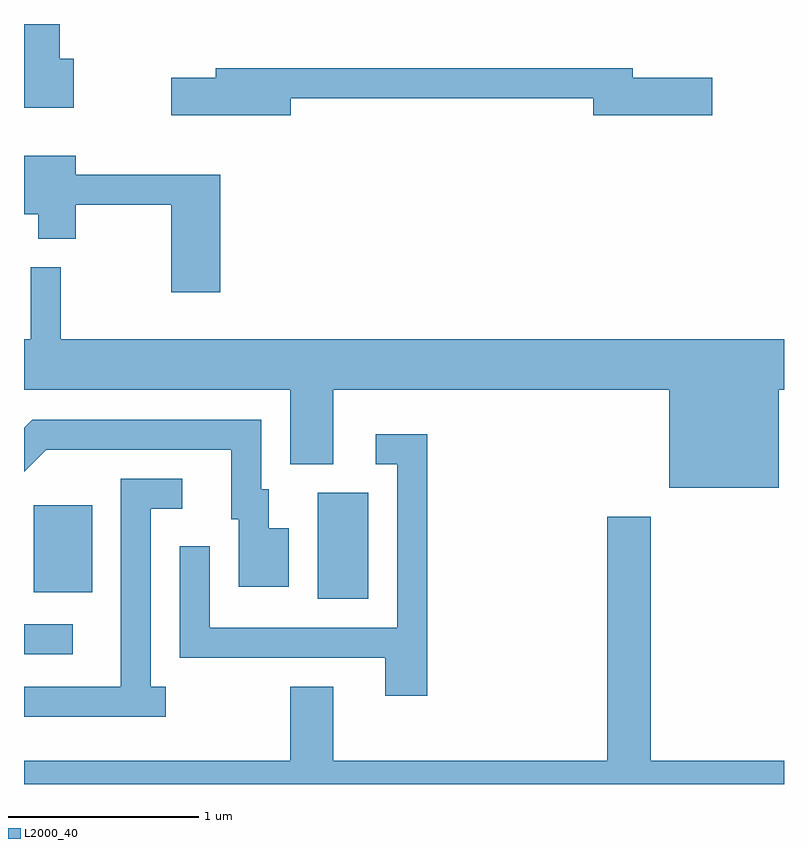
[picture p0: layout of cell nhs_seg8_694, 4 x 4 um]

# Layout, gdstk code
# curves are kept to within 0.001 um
import gdstk
lib = gdstk.Library(unit=1e-6, precision=1e-09)
def R(c, l, rs):  # rectangles x0, y0, x1, y1
    for r in rs: c.add(gdstk.rectangle(r[:2], r[2:], *l))
def P(c, l, *ps):  # polygons
    for p in ps: c.add(gdstk.Polygon(p, *l))
L2000_40 = (2000, 40)

nhs_seg8_694 = lib.new_cell('nhs_seg8_694')
R(nhs_seg8_694, L2000_40, [(205.611,1835.026,205.868,1835.184), (207.156,1835.316,207.424,1835.874), (205.661,1835.351,205.969,1835.809)])
P(nhs_seg8_694, L2000_40, [(205.874,1838.159),(205.799,1838.159),(205.799,1838.342),(205.611,1838.342),(205.611,1837.901),(205.874,1837.901)],
  [(207.014,1837.951),(208.606,1837.951),(208.606,1837.861),(209.234,1837.861),(209.234,1838.059),(208.814,1838.059),(208.814,1838.109),(206.621,1838.109),(206.621,1838.059),(206.386,1838.059),(206.386,1837.861),(207.014,1837.861)],
  [(206.644,1837.549),(205.884,1837.549),(205.884,1837.649),(205.611,1837.649),(205.611,1837.341),(205.686,1837.341),(205.686,1837.211),(205.884,1837.211),(205.884,1837.391),(206.386,1837.391),(206.386,1836.931),(206.644,1836.931)],
  [(209.584,1836.416),(209.611,1836.416),(209.611,1836.684),(205.804,1836.684),(205.804,1837.063),(205.646,1837.063),(205.646,1836.684),(205.611,1836.684),(205.611,1836.416),(207.011,1836.416),(207.011,1836.026),(207.239,1836.026),(207.239,1836.416),(209.006,1836.416),(209.006,1835.901),(209.584,1835.901)],
  [(207.004,1835.689),(206.899,1835.689),(206.899,1835.894),(206.859,1835.894),(206.859,1836.259),(205.654,1836.259),(205.611,1836.216),(205.611,1835.986),(205.727,1836.101),(206.701,1836.101),(206.701,1835.736),(206.741,1835.736),(206.741,1835.381),(207.004,1835.381)],
  [(207.734,1836.184),(207.463,1836.184),(207.463,1836.026),(207.576,1836.026),(207.576,1835.164),(206.589,1835.164),(206.589,1835.593),(206.431,1835.593),(206.431,1835.006),(207.511,1835.006),(207.511,1834.806),(207.734,1834.806)],
  [(206.358,1834.854),(206.279,1834.854),(206.279,1835.791),(206.443,1835.791),(206.443,1835.949),(206.121,1835.949),(206.121,1834.854),(205.611,1834.854),(205.611,1834.696),(206.358,1834.696)],
  [(209.611,1834.464),(208.909,1834.464),(208.909,1835.749),(208.681,1835.749),(208.681,1834.464),(207.239,1834.464),(207.239,1834.854),(207.011,1834.854),(207.011,1834.464),(205.611,1834.464),(205.611,1834.342),(209.611,1834.342)])

lib.write_gds('nhs_seg8_694.gds')
